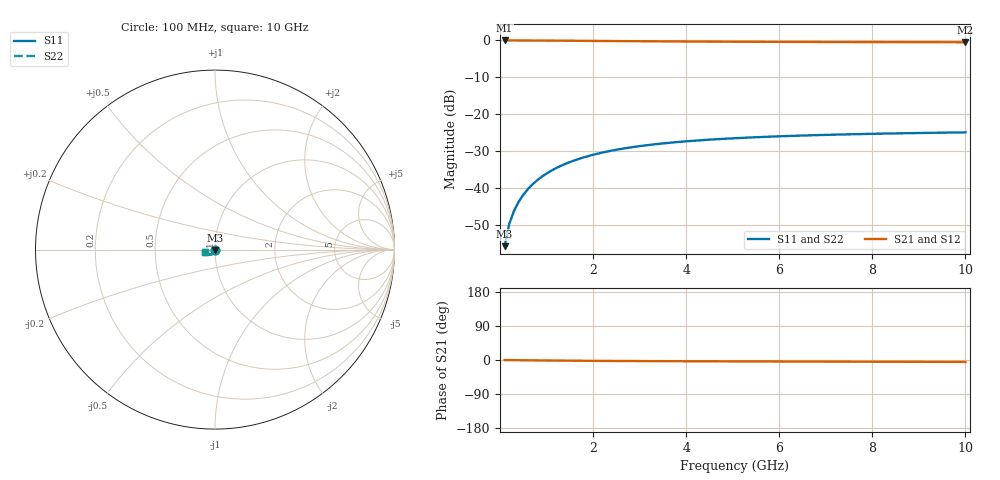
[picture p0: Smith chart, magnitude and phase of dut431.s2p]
! Touchstone file exported from HFSS 2024.1.0
!  File:  C:/UserFiles/LocalFiles/RDL_TSV_Batchsim/temp_TSV1_431_1779694301.aedt
!  Generated:  03:36:39 PM May 25, 2026
!  Design:  TSV1
!  Project:  temp_TSV1_431_1779694301
!  Setup:  Setup1
!  Solution:  Sweep
! Variables:
!  dtsv = 13.3um
!  hbump = 3um
!  htsv = 77.7um
!  lrdl = 252.1521522um
!  p = 40
!  p1 = 49.14um
!  t = 500um
!  trdl = 3um
!  wrdl = 24.89489489um
# GHz S MA R 50.000000
! Terminal data exported
! Port[1] = TSV22_T1
! Port[2] = TSV22_T2
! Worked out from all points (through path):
!   100 points, 100 MHz to 10 GHz, reference 50 ohm
!   highest |S21| = 0.00 dB at 100 MHz (marker M1); lowest = -0.5 dB at 10 GHz (marker M2)
!   lowest |S11| = -55.8 dB at 100 MHz (marker M3), VSWR 1.00, Z = 50 - j0.161 ohm
!   |S11| at or under -10 dB: start of sweep to end of sweep
!   |S22| runs from -55.8 to -25.0 dB; largest |S21 - S12| = 1.2e-14
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0.1  0.001613 -88.6  0.9999 -0.1  0.9999 -0.1  0.001613 -88.6
! Gamma 0 0 0 0
! Port Impedance 50 0 50 0
0.2  0.003224 -91.7  0.9997 -0.3  0.9997 -0.3  0.003224 -91.7
0.3  0.004834 -93.8  0.9994 -0.4  0.9994 -0.4  0.004834 -93.8
0.4  0.006436 -95.7  0.9991 -0.5  0.9991 -0.5  0.006436 -95.7
0.5  0.008024 -97.5  0.9987 -0.7  0.9987 -0.7  0.008024 -97.5
0.6  0.009592 -99.3  0.9982 -0.8  0.9982 -0.8  0.009592 -99.3
0.7  0.01114 -101.0  0.9976 -0.9  0.9976 -0.9  0.01114 -101.0
0.8  0.01265 -102.7  0.9969 -1.0  0.9969 -1.0  0.01265 -102.7
0.9  0.01414 -104.4  0.9962 -1.2  0.9962 -1.2  0.01414 -104.4
1.1  0.01702 -107.6  0.9946 -1.4  0.9946 -1.4  0.01702 -107.6
1.4  0.02105 -112.2  0.9919 -1.7  0.9919 -1.7  0.02105 -112.2
1.6  0.02354 -115.0  0.9899 -1.9  0.9899 -1.9  0.02354 -115.0
1.8  0.02587 -117.7  0.9879 -2.1  0.9879 -2.1  0.02587 -117.7
2.1  0.02907 -121.5  0.9848 -2.3  0.9848 -2.3  0.02907 -121.5
2.5  0.03282 -126.1  0.9807 -2.6  0.9807 -2.6  0.03282 -126.1
2.9  0.03603 -130.2  0.9768 -2.8  0.9768 -2.8  0.03603 -130.2
3.4  0.03942 -134.8  0.9724 -3.1  0.9724 -3.1  0.03942 -134.8
4.2  0.04369 -140.8  0.9663 -3.4  0.9663 -3.4  0.04369 -140.8
5.1  0.04727 -146.3  0.9608 -3.7  0.9608 -3.7  0.04727 -146.3
6.7  0.05164 -153.9  0.9537 -4.1  0.9537 -4.1  0.05164 -153.9
8.4  0.05463 -159.9  0.9486 -4.6  0.9486 -4.6  0.05463 -159.9
10  0.05654 -164.4  0.9452 -5.1  0.9452 -5.1  0.05654 -164.4
